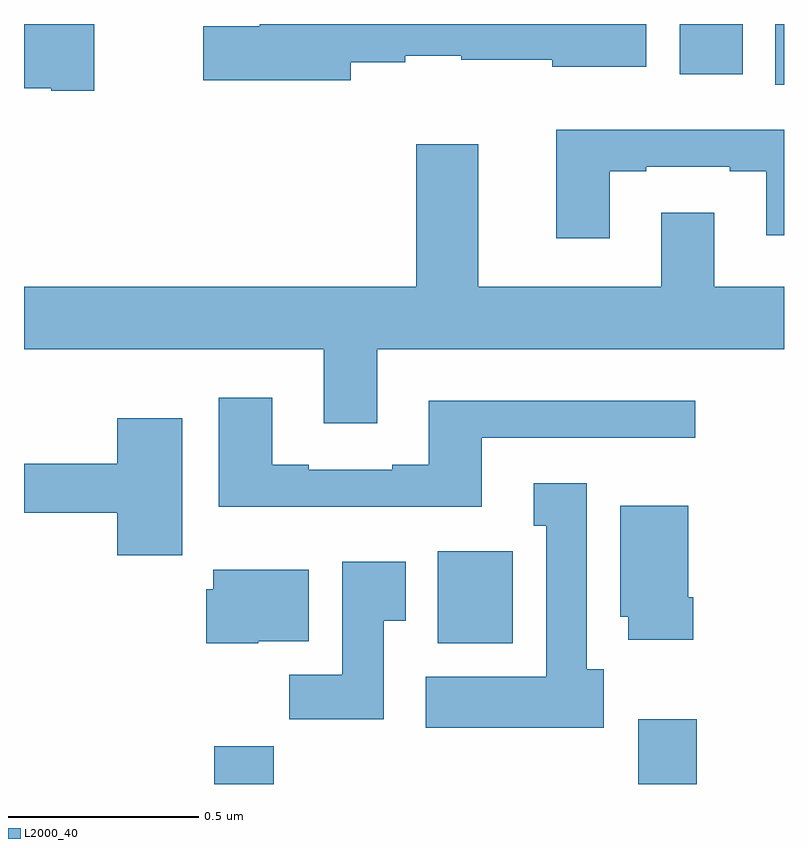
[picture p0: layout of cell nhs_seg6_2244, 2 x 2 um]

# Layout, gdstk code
import gdstk
lib = gdstk.Library(unit=1e-6, precision=1e-09)
def R(c, l, rs):  # rectangles x0, y0, x1, y1
    for r in rs: c.add(gdstk.rectangle(r[:2], r[2:], *l))
def P(c, l, *ps):  # polygons
    for p in ps: c.add(gdstk.Polygon(p, *l))
L2000_40 = (2000, 40)

nhs_seg6_2244 = lib.new_cell('nhs_seg6_2244')
R(nhs_seg6_2244, L2000_40, [(140.501,971.5,140.657,971.6), (141.617,971.5,141.77,971.671), (141.089,971.87,141.286,972.112), (141.977,973.34,142,973.5), (141.725,973.368,141.892,973.5)])
P(nhs_seg6_2244, L2000_40, [(140.185,973.5),(140,973.5),(140,973.331),(140.072,973.331),(140.072,973.325),(140.185,973.325)],
  [(140.86,973.399),(141.003,973.399),(141.003,973.417),(141.15,973.417),(141.15,973.406),(141.39,973.406),(141.39,973.388),(141.637,973.388),(141.637,973.5),(140.621,973.5),(140.621,973.494),(140.472,973.494),(140.472,973.352),(140.86,973.352)],
  [(141.541,973.113),(141.637,973.113),(141.637,973.125),(141.857,973.125),(141.857,973.113),(141.953,973.113),(141.953,972.944),(142,972.944),(142,973.222),(141.401,973.222),(141.401,972.936),(141.541,972.936)],
  [(142,972.808),(141.817,972.808),(141.817,973.003),(141.677,973.003),(141.677,972.808),(141.196,972.808),(141.196,973.183),(141.032,973.183),(141.032,972.808),(140,972.808),(140,972.644),(140.789,972.644),(140.789,972.45),(140.929,972.45),(140.929,972.644),(142,972.644)],
  [(141.205,972.411),(141.766,972.411),(141.766,972.508),(141.065,972.508),(141.065,972.34),(140.969,972.34),(140.969,972.327),(140.749,972.327),(140.749,972.34),(140.653,972.34),(140.653,972.517),(140.513,972.517),(140.513,972.23),(141.205,972.23)],
  [(140.416,972.463),(140.246,972.463),(140.246,972.343),(140,972.343),(140,972.214),(140.246,972.214),(140.246,972.102),(140.416,972.102)],
  [(141.526,971.802),(141.481,971.802),(141.481,972.292),(141.341,972.292),(141.341,972.179),(141.374,972.179),(141.374,971.782),(141.057,971.782),(141.057,971.648),(141.526,971.648)],
  [(141.761,971.992),(141.748,971.992),(141.748,972.232),(141.569,972.232),(141.569,971.94),(141.59,971.94),(141.59,971.88),(141.761,971.88)],
  [(140.947,971.929),(141.004,971.929),(141.004,972.085),(140.837,972.085),(140.837,971.788),(140.698,971.788),(140.698,971.67),(140.947,971.67)],
  [(140.616,971.876),(140.749,971.876),(140.749,972.064),(140.498,972.064),(140.498,972.012),(140.48,972.012),(140.48,971.87),(140.616,971.87)])

lib.write_gds('nhs_seg6_2244.gds')
